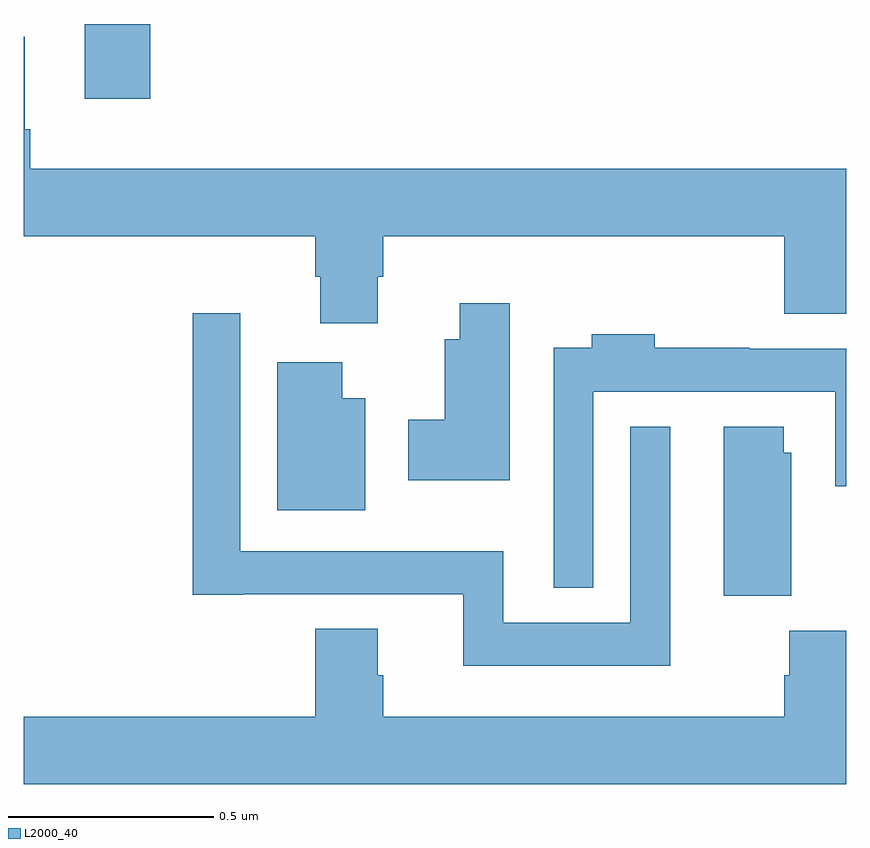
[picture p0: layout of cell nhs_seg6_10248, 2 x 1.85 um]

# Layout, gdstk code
import gdstk
lib = gdstk.Library(unit=1e-6, precision=1e-09)
def R(c, l, rs):  # rectangles x0, y0, x1, y1
    for r in rs: c.add(gdstk.rectangle(r[:2], r[2:], *l))
def P(c, l, *ps):  # polygons
    for p in ps: c.add(gdstk.Polygon(p, *l))
L2000_40 = (2000, 40)

nhs_seg6_10248 = lib.new_cell('nhs_seg6_10248')
R(nhs_seg6_10248, L2000_40, [(244.148,966.318,244.307,966.5)])
P(nhs_seg6_10248, L2000_40, [(244.861,965.886),(244.874,965.886),(244.874,965.984),(245.849,965.984),(245.849,965.795),(246,965.795),(246,966.148),(244.016,966.148),(244.016,966.244),(244.003,966.244),(244.003,966.469),(244,966.469),(244,965.984),(244.709,965.984),(244.709,965.886),(244.721,965.886),(244.721,965.772),(244.861,965.772)],
  [(245.182,965.821),(245.06,965.821),(245.06,965.734),(245.024,965.734),(245.024,965.538),(244.935,965.538),(244.935,965.39),(245.182,965.39)],
  [(245.572,965.521),(245.475,965.521),(245.475,965.044),(245.166,965.044),(245.166,965.218),(244.527,965.218),(244.527,965.797),(244.411,965.797),(244.411,965.112),(244.534,965.112),(244.534,965.114),(245.069,965.114),(245.069,964.94),(245.572,964.94)],
  [(245.385,965.606),(245.973,965.606),(245.973,965.376),(246,965.376),(246,965.71),(245.765,965.71),(245.765,965.713),(245.534,965.713),(245.534,965.746),(245.381,965.746),(245.381,965.713),(245.289,965.713),(245.289,965.129),(245.385,965.129)],
  [(244.831,965.59),(244.774,965.59),(244.774,965.677),(244.616,965.677),(244.616,965.318),(244.831,965.318)],
  [(245.866,965.457),(245.848,965.457),(245.848,965.521),(245.702,965.521),(245.702,965.11),(245.866,965.11)],
  [(246,965.025),(245.861,965.025),(245.861,964.916),(245.849,964.916),(245.849,964.816),(244.874,964.816),(244.874,964.917),(244.861,964.917),(244.861,965.029),(244.709,965.029),(244.709,964.816),(244,964.816),(244,964.652),(246,964.652)])

lib.write_gds('nhs_seg6_10248.gds')
